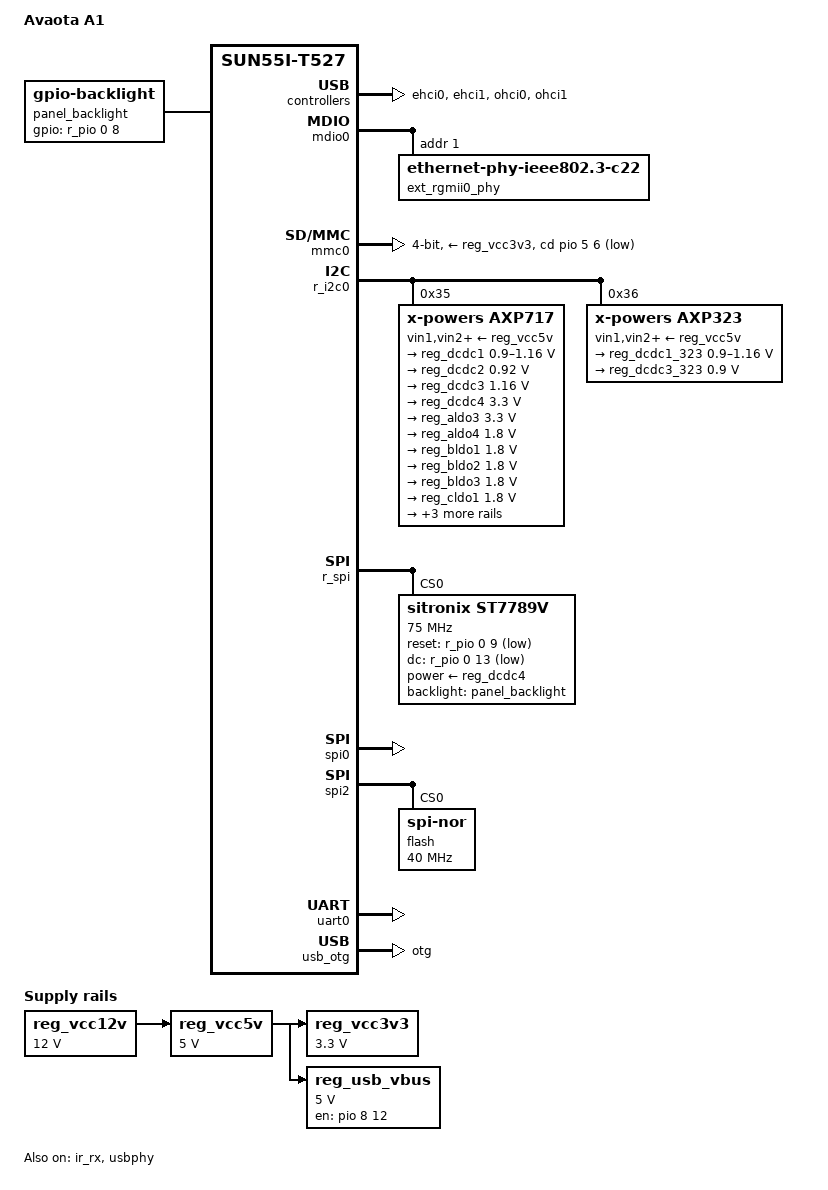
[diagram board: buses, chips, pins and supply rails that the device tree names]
// SPDX-License-Identifier: (GPL-2.0-only OR MIT)
// Copyright (C) 2024 Arm Ltd.

/dts-v1/;

#include "sun55i-a523.dtsi"

#include <dt-bindings/gpio/gpio.h>

/ {
	model = "Avaota A1";
	compatible = "yuzukihd,avaota-a1", "allwinner,sun55i-t527";

	aliases {
		ethernet0 = &emac0;
		serial0 = &uart0;
	};

	chosen {
		stdout-path = "serial0:115200n8";
	};

	/* For now, until we have mainline components living in SRAM */
	reserved-memory {
		#address-cells = <2>;
		#size-cells = <2>;
		ranges;

		/* 128 KiB reserved for Trusted Firmware-A (BL31). */
		secmon@48000000 {
			reg = <0x0 0x48000000 0x0 0x20000>;
			no-map;
		};

		/* 256 KiB reserved for the SCP. */
		secmon@48100000 {
			reg = <0x0 0x48100000 0x0 0x40000>;
			no-map;
		};
	};

	reg_vcc12v: vcc12v {
		/* DC input jack */
		compatible = "regulator-fixed";
		regulator-name = "vcc-12v";
		regulator-min-microvolt = <12000000>;
		regulator-max-microvolt = <12000000>;
		regulator-always-on;
	};

	reg_vcc5v: vcc5v {
		/* board wide 5V supply from the 12V->5V regulator */
		compatible = "regulator-fixed";
		regulator-name = "vcc-5v";
		regulator-min-microvolt = <5000000>;
		regulator-max-microvolt = <5000000>;
		vin-supply = <&reg_vcc12v>;
		regulator-always-on;
	};

	reg_vcc3v3: vcc3v3 {
		/* 3.3V dummy supply for the SD card */
		compatible = "regulator-fixed";
		regulator-name = "vcc-3v3";
		regulator-min-microvolt = <3300000>;
		regulator-max-microvolt = <3300000>;
		vin-supply = <&reg_vcc5v>;
		regulator-always-on;
	};

	reg_usb_vbus: vbus {
		compatible = "regulator-fixed";
		regulator-name = "usb-vbus";
		regulator-min-microvolt = <5000000>;
		regulator-max-microvolt = <5000000>;
		vin-supply = <&reg_vcc5v>;
		gpio = <&pio 8 12 GPIO_ACTIVE_HIGH>;	/* PI12 */
		enable-active-high;
	};

	panel_backlight: backlight {
		compatible = "gpio-backlight";
		gpios = <&r_pio 0 8 GPIO_ACTIVE_HIGH>;	/* PL8 */
	};
};

&ehci0 {
	status = "okay";
};

&ehci1 {
	status = "okay";
};

&emac0 {
	pinctrl-names = "default";
	pinctrl-0 = <&rgmii0_pins>;
	phy-mode = "rgmii-txid";
	phy-handle = <&ext_rgmii0_phy>;
	phy-supply = <&reg_cldo3>;
	allwinner,tx-delay-ps = <100>;
	allwinner,rx-delay-ps = <300>;
	status = "disabled";
};

&ir_rx {
	pinctrl-names = "default";
	pinctrl-0 = <&ir_rx_pi_pin>;
	status = "okay";
};

&mdio0 {
	ext_rgmii0_phy: ethernet-phy@1 {
		compatible = "ethernet-phy-ieee802.3-c22";
//		reset-gpios = <&pio 7 8 GPIO_ACTIVE_LOW>;	 /* PH8 */
		reg = <1>;
	};
};

&mmc0 {
	vmmc-supply = <&reg_vcc3v3>;
	vqmmc-supply = <&pio>;
	cd-gpios = <&pio 5 6 (GPIO_ACTIVE_LOW | GPIO_PULL_DOWN)>; /* PF6 */
	bus-width = <4>;
	sd-uhs-sdr12;
	sd-uhs-sdr25;
	sd-uhs-sdr50;
	sd-uhs-sdr104;
	status = "okay";
};

&ohci0 {
	status = "okay";
};

&ohci1 {
	status = "okay";
};

&pio {
	vcc-pb-supply = <&reg_cldo3>;	/* via VCC-IO */
	vcc-pc-supply = <&reg_cldo1>;
	vcc-pd-supply = <&reg_dcdc4>;
	vcc-pe-supply = <&reg_dcdc4>;
	vcc-pf-supply = <&reg_cldo3>;	/* actually switchable */
	vcc-pg-supply = <&reg_bldo1>;
	vcc-ph-supply = <&reg_cldo3>;	/* via VCC-IO */
	vcc-pi-supply = <&reg_dcdc4>;
	vcc-pj-supply = <&reg_dcdc4>;
	vcc-pk-supply = <&reg_bldo3>;
};

&r_i2c0 {
	status = "okay";

	axp717: pmic@35 {
		compatible = "x-powers,axp717";
		reg = <0x35>;
		interrupt-controller;
		#interrupt-cells = <1>;
		interrupt-parent = <&nmi_intc>;
		interrupts = <0 IRQ_TYPE_LEVEL_LOW>;

		vin1-supply = <&reg_vcc5v>;
		vin2-supply = <&reg_vcc5v>;
		vin3-supply = <&reg_vcc5v>;
		vin4-supply = <&reg_vcc5v>;
		aldoin-supply = <&reg_vcc5v>;
		bldoin-supply = <&reg_vcc5v>;
		cldoin-supply = <&reg_vcc5v>;

		regulators {
			/* Supplies the "little" cluster (1.4 GHz cores) */
			reg_dcdc1: dcdc1 {
				regulator-always-on;
				regulator-min-microvolt = <900000>;
				regulator-max-microvolt = <1160000>;
				regulator-name = "vdd-cpul";
			};

			reg_dcdc2: dcdc2 {
				regulator-always-on;
				regulator-min-microvolt = <920000>;
				regulator-max-microvolt = <920000>;
				regulator-name = "vdd-gpu-sys";
			};

			reg_dcdc3: dcdc3 {
				regulator-always-on;
				regulator-min-microvolt = <1160000>;
				regulator-max-microvolt = <1160000>;
				regulator-name = "vdd-dram";
			};

			reg_dcdc4: dcdc4 {
				regulator-always-on;
				regulator-min-microvolt = <3300000>;
				regulator-max-microvolt = <3300000>;
				regulator-name = "vdd-io";
			};

			reg_aldo1: aldo1 {
				/* not connected */
			};

			reg_aldo2: aldo2 {
				/* not connected */
			};

			reg_aldo3: aldo3 {
				/* supplies the I2C pins for this PMIC */
				regulator-always-on;
				regulator-min-microvolt = <3300000>;
				regulator-max-microvolt = <3300000>;
				regulator-name = "vcc-pl-pm";
			};

			reg_aldo4: aldo4 {
				regulator-always-on;
				regulator-min-microvolt = <1800000>;
				regulator-max-microvolt = <1800000>;
				regulator-name = "vcc-pll-dxco-avcc";
			};

			reg_bldo1: bldo1 {
				regulator-min-microvolt = <1800000>;
				regulator-max-microvolt = <1800000>;
				regulator-name = "vcc-pg-wifi-lvds";
			};

			reg_bldo2: bldo2 {
				regulator-always-on;
				regulator-min-microvolt = <1800000>;
				regulator-max-microvolt = <1800000>;
				regulator-name = "vcc-dram-1v8";
			};

			reg_bldo3: bldo3 {
				regulator-min-microvolt = <1800000>;
				regulator-max-microvolt = <1800000>;
				regulator-name = "vcc-cvp-pk-vid1v8";
			};

			reg_bldo4: bldo4 {
				/* not connected */
			};

			reg_cldo1: cldo1 {
				regulator-min-microvolt = <1800000>;
				regulator-max-microvolt = <1800000>;
				regulator-name = "vcc-pc";
			};

			reg_cldo2: cldo2 {
				regulator-min-microvolt = <1800000>;
				regulator-max-microvolt = <1800000>;
				regulator-name = "vcc-efuse";
			};

			reg_cldo3: cldo3 {
				regulator-min-microvolt = <3300000>;
				regulator-max-microvolt = <3300000>;
				regulator-name = "vcc-io-mmc-spi-ana";
			};

			reg_cldo4: cldo4 {
				/* not connected */
			};

			reg_cpusldo: cpusldo {
				/* supplies the management core */
				regulator-always-on;
				regulator-min-microvolt = <900000>;
				regulator-max-microvolt = <900000>;
				regulator-name = "vdd-cpus";
			};
		};
	};

	axp323: pmic@36 {
		compatible = "x-powers,axp323";
		reg = <0x36>;
		#interrupt-cells = <1>;
		interrupt-controller;
		interrupt-parent = <&nmi_intc>;
		interrupts = <0 IRQ_TYPE_LEVEL_LOW>;
		status = "okay";

		vin1-supply = <&reg_vcc5v>;
		vin2-supply = <&reg_vcc5v>;
		vin3-supply = <&reg_vcc5v>;

		regulators {
			aldo1 {
				/* not connected */
			};

			dldo1 {
				/* not connected */
			};

			/* Supplies the "big" cluster (1.8 GHz cores) */
			reg_dcdc1_323: dcdc1 {
				regulator-always-on;
				regulator-min-microvolt = <900000>;
				regulator-max-microvolt = <1160000>;
				regulator-name = "vdd-cpub";
			};

			/* DCDC2 is polyphased with DCDC1 */

			/* Some RISC-V management core related voltage */
			reg_dcdc3_323: dcdc3 {
				regulator-always-on;
				regulator-min-microvolt = <900000>;
				regulator-max-microvolt = <900000>;
				regulator-name = "vdd-dnr";
			};
		};
	};
};

&r_pio {
/*
 * Specifying the supply would create a circular dependency.
 *
 *	vcc-pl-supply = <&reg_aldo3>;
 */
	vcc-pm-supply = <&reg_aldo3>;
};

&r_spi {
	status = "okay";
	pinctrl-names = "default";
	pinctrl-0 = <&r_spi_pins>, <&r_spi_cs_pin>;

	st7789v@0 {
		compatible = "sitronix,st7789v";
		reg = <0>;

		reset-gpios = <&r_pio 0 9 GPIO_ACTIVE_LOW>;	/* PL9 */
		dc-gpios = <&r_pio 0 13 GPIO_ACTIVE_LOW>;	/* PL13 */
		backlight = <&panel_backlight>;
		rotation = <90>;
		rotate = <90>;
		power-supply = <&reg_dcdc4>;
//  port: true

//  spi-cpha: true
//  spi-cpol: true

//		rgb;		// ???
		spi-max-frequency = <75000000>;
//		fps = <30>;	// ???
//		buswidth = <8>;	// ???
	};
};

&spi0  {
	status = "okay";
	pinctrl-names = "default";
	pinctrl-0 = <&spi0_pj_pins>, <&spi0_cs0_pj_pin>;

	flash@0 {
		status = "disabled";
		compatible = "spi-nand";
		reg = <0>;
		spi-max-frequency = <40000000>;
		#address-cells = <1>;
		#size-cells = <1>;
	};
};

&spi2  {
	status = "okay";
	pinctrl-names = "default";
	pinctrl-0 = <&spi2_pins>, <&spi2_cs_pin>;

	flash@0 {
		#address-cells = <1>;
		#size-cells = <1>;
		compatible = "jedec,spi-nor";
		reg = <0>;
		spi-max-frequency = <40000000>;
	};
};

&uart0 {
	pinctrl-names = "default";
	pinctrl-0 = <&uart0_pb_pins>;
	status = "okay";
};

&usb_otg {
	dr_mode = "otg";
	status = "okay";
};

&usbphy {
	usb0_vbus-supply = <&reg_usb_vbus>;
	usb0_vbus_det-gpios = <&pio 8 13 GPIO_ACTIVE_HIGH>; /* PI13 */
	status = "okay";
};
